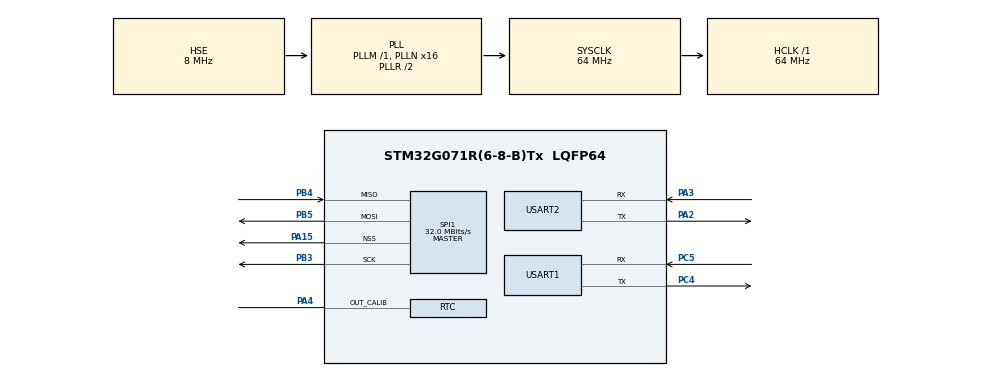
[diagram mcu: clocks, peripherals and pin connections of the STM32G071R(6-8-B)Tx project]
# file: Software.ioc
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CRC.DefaultInitValueUse=DEFAULT_INIT_VALUE_DISABLE
CRC.InitValue=0xf2faaa55
Dma.Request0=USART2_TX
Dma.USART2_TX.0.Direction=DMA_MEMORY_TO_PERIPH
Dma.USART2_TX.0.EventEnable=DISABLE
Dma.USART2_TX.0.Instance=DMA1_Channel1
Dma.USART2_TX.0.MemDataAlignment=DMA_MDATAALIGN_BYTE
Dma.USART2_TX.0.MemInc=DMA_MINC_ENABLE
Dma.USART2_TX.0.Mode=DMA_NORMAL
Dma.USART2_TX.0.PeriphDataAlignment=DMA_PDATAALIGN_BYTE
Dma.USART2_TX.0.PeriphInc=DMA_PINC_DISABLE
Dma.USART2_TX.0.Polarity=HAL_DMAMUX_REQ_GEN_RISING
Dma.USART2_TX.0.Priority=DMA_PRIORITY_LOW
Dma.USART2_TX.0.RequestNumber=1
Dma.USART2_TX.0.SignalID=NONE
Dma.USART2_TX.0.SyncEnable=DISABLE
Dma.USART2_TX.0.SyncPolarity=HAL_DMAMUX_SYNC_NO_EVENT
Dma.USART2_TX.0.SyncRequestNumber=1
Dma.USART2_TX.0.SyncSignalID=NONE
FREERTOS.Tasks01=IdleTask,24,128,StartIdleTask,Default,NULL,Dynamic,NULL,NULL;DisplayTask,24,128,StartDisplayTask,Default,NULL,Dynamic,NULL,NULL
FREERTOS.configENABLE_FPU=1
FREERTOS.configUSE_NEWLIB_REENTRANT=1
Mcu.Family=STM32G0
Mcu.Name=STM32G071R(6-8-B)Tx
Mcu.Package=LQFP64
NVIC.DMA1_Channel1_IRQn=true\:3\:0\:false\:false\:true\:true\:false\:true\:true
NVIC.TIM1_BRK_UP_TRG_COM_IRQn=true\:3\:0\:false\:false\:true\:false\:false\:true\:true
NVIC.TimeBase=TIM1_BRK_UP_TRG_COM_IRQn
NVIC.TimeBaseIP=TIM1
NVIC.USART1_IRQn=true\:3\:0\:false\:false\:true\:true\:true\:true\:true
NVIC.USART2_IRQn=true\:3\:0\:false\:false\:true\:true\:true\:true\:true
PA13.Mode=Serial_Wire
PA13.Signal=SYS_SWDIO
PA14-BOOT0.Mode=Serial_Wire
PA14-BOOT0.Signal=SYS_SWCLK
PA15.GPIO_PuPd=GPIO_PULLUP
PA15.GPIO_Speed=GPIO_SPEED_FREQ_HIGH
PA15.Mode=NSS_Signal_Hard_Output
PA15.PinState=GPIO_PIN_SET
PA15.Signal=SPI1_NSS
PA2.GPIO_PuPd=GPIO_PULLUP
PA2.GPIO_Speed=GPIO_SPEED_FREQ_HIGH
PA2.Mode=Asynchronous
PA2.PinState=GPIO_PIN_SET
PA2.Signal=USART2_TX
PA3.GPIO_ModeDefaultPP=GPIO_MODE_AF_PP
PA3.GPIO_PuPd=GPIO_PULLUP
PA3.GPIO_Speed=GPIO_SPEED_FREQ_HIGH
PA3.Mode=Asynchronous
PA3.PinState=GPIO_PIN_SET
PA3.Signal=USART2_RX
PA4.Mode=Calibration_1Hz
PA4.Signal=RTC_OUT_CALIB
PB3.GPIO_Mode=GPIO_MODE_AF_PP
PB3.GPIO_PuPd=GPIO_PULLUP
PB3.GPIO_Speed=GPIO_SPEED_FREQ_HIGH
PB3.Mode=Full_Duplex_Master
PB3.PinState=GPIO_PIN_SET
PB3.Signal=SPI1_SCK
PB4.GPIO_PuPd=GPIO_PULLUP
PB4.GPIO_Speed=GPIO_SPEED_FREQ_HIGH
PB4.Mode=Full_Duplex_Master
PB4.PinState=GPIO_PIN_SET
PB4.Signal=SPI1_MISO
PB5.GPIO_Mode=GPIO_MODE_AF_PP
PB5.GPIO_PuPd=GPIO_PULLUP
PB5.GPIO_Speed=GPIO_SPEED_FREQ_HIGH
PB5.Mode=Full_Duplex_Master
PB5.PinState=GPIO_PIN_SET
PB5.Signal=SPI1_MOSI
PC14-OSC32_IN\ (PC14).Mode=LSE-External-Oscillator
PC14-OSC32_IN\ (PC14).Signal=RCC_OSC32_IN
PC15-OSC32_OUT\ (PC15).Mode=LSE-External-Oscillator
PC15-OSC32_OUT\ (PC15).Signal=RCC_OSC32_OUT
PC4.GPIO_ModeDefaultPP=GPIO_MODE_AF_OD
PC4.Mode=IrDA
PC4.Signal=USART1_TX
PC5.GPIO_ModeDefaultPP=GPIO_MODE_AF_OD
PC5.Mode=IrDA
PC5.Signal=USART1_RX
PF0-OSC_IN\ (PF0).Mode=HSE-External-Oscillator
PF0-OSC_IN\ (PF0).Signal=RCC_OSC_IN
PF1-OSC_OUT\ (PF1).Mode=HSE-External-Oscillator
PF1-OSC_OUT\ (PF1).Signal=RCC_OSC_OUT
ProjectManager.HeapSize=0x200
ProjectManager.StackSize=0x400
ProjectManager.TargetToolchain=STM32CubeIDE
RCC.ADCFreq_Value=64000000
RCC.AHBFreq_Value=64000000
RCC.CortexFreq_Value=64000000
RCC.EXTERNAL_CLOCK_VALUE=48000
RCC.HCLKFreq_Value=64000000
RCC.HSE_VALUE=8000000
RCC.HSI_VALUE=16000000
RCC.PLLN=16
RCC.PLLSourceVirtual=RCC_PLLSOURCE_HSE
RCC.RTCClockSelection=RCC_RTCCLKSOURCE_LSE
RCC.SYSCLKFreq_VALUE=64000000
RCC.SYSCLKSource=RCC_SYSCLKSOURCE_PLLCLK
RCC.VCOOutputFreq_Value=128000000
SPI1.CalculateBaudRate=32.0 MBits/s
SPI1.Direction=SPI_DIRECTION_2LINES
SPI1.Mode=SPI_MODE_MASTER
SPI1.VirtualNSS=VM_NSSHARD
SPI1.VirtualType=VM_MASTER
USART1.VirtualMode-IrDA=VM_IRDA
USART2.VirtualMode-Asynchronous=VM_ASYNC
VP_CRC_VS_CRC.Mode=CRC_Activate
VP_FREERTOS_VS_CMSIS_V2.Mode=CMSIS_V2
VP_RTC_VS_RTC_Activate.Mode=RTC_Enabled
VP_RTC_VS_RTC_Calendar.Mode=RTC_Calendar
VP_SYS_VS_DBSignals.Mode=DisableDeadBatterySignals
VP_SYS_VS_tim1.Mode=TIM1
board=custom

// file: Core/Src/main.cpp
/* USER CODE BEGIN Header */
/**
 ******************************************************************************
 * @file           : main.c
 * @brief          : Main program body
 ******************************************************************************
 * @attention
 *
 * Copyright (c) 2023 STMicroelectronics.
 * All rights reserved.
 *
 * This software is licensed under terms that can be found in the LICENSE file
 * in the root directory of this software component.
 * If no LICENSE file comes with this software, it is provided AS-IS.
 *
 ******************************************************************************
 */
/* USER CODE END Header */
#include "main.h"
#include "cmsis_os.h"

/* USER CODE BEGIN Includes */
#include "bcd.h"
#include "calendar_stm32.h"
#include "config_manager.h"
#include "display.h"
#include "elog.h"
#include "safe_days.h"
#include "elog_port.h"
/* USER CODE END Includes */

/* USER CODE BEGIN PTD */
typedef StaticTask_t osStaticThreadDef_t;
/* USER CODE END PTD */

RTC_HandleTypeDef hrtc;

SPI_HandleTypeDef hspi1;

IRDA_HandleTypeDef hirda1;
UART_HandleTypeDef huart2;
DMA_HandleTypeDef  hdma_usart2_tx;
CRC_HandleTypeDef  hcrc;

/* Definitions for IdleTask */
osThreadId_t         IdleTaskHandle;
const osThreadAttr_t IdleTask_attributes = {
  .name       = "IdleTask",
  .stack_size = 128 * 8,
  .priority   = (osPriority_t) osPriorityNormal,
};
/* Definitions for DisplayTask */
osThreadId_t         DisplayTaskHandle;
const osThreadAttr_t DisplayTask_attributes = {
  .name       = "DisplayTask",
  .stack_size = 128 * 8,
  .priority   = (osPriority_t) osPriorityNormal,
};
/* USER CODE BEGIN PV */
/* Definitions for elog */
osThreadId_t         elogHandle;
uint32_t             elogBuffer[512];
osStaticThreadDef_t  elogControlBlock;
const osThreadAttr_t elog_attributes = {
  .name       = "elog",
  .cb_mem     = &elogControlBlock,
  .cb_size    = sizeof(elogControlBlock),
  .stack_mem  = &elogBuffer[0],
  .stack_size = sizeof(elogBuffer),
  .priority   = (osPriority_t) osPriorityLow,
};
/* Definitions for elog_lock */
osSemaphoreId_t         elog_lockHandle;
const osSemaphoreAttr_t elog_lock_attributes = {.name = "elog_lock"};
/* Definitions for elog_async */
osSemaphoreId_t         elog_asyncHandle;
const osSemaphoreAttr_t elog_async_attributes = {.name = "elog_async"};
/* Definitions for elog_dma_lock */
osSemaphoreId_t         elog_dma_lockHandle;
const osSemaphoreAttr_t elog_dma_lock_attributes = {.name = "elog_dma_lock"};
uint8_t                 rx_buf[8]                = {0};
/* USER CODE END PV */

void        SystemClock_Config(void);
static void MX_GPIO_Init(void);
static void MX_SPI1_Init(void);
static void MX_USART1_IRDA_Init(void);
static void MX_USART2_UART_Init(void);
static void MX_DMA_Init(void);
static void MX_RTC_Init(void);
static void MX_CRC_Init(void);
void        StartIdleTask(void *argument);
void        StartDisplayTask(void *argument);

/* USER CODE BEGIN 0 */
void HAL_UART_TxCpltCallback(UART_HandleTypeDef *huart) {
    if (huart->Instance == huart2.Instance) {
        extern osSemaphoreId_t elog_dma_lockHandle;
        osSemaphoreRelease(elog_dma_lockHandle);
    }
}

void HAL_UART_RxCpltCallback(UART_HandleTypeDef *huart) {
    if (huart->Instance == huart2.Instance) {
        static ConfigManager *cm_instance = ConfigManager::getInstance();
        cm_instance->serialCallback(rx_buf[0]);
        HAL_UART_Receive_IT(&huart2, rx_buf, 1);
    }
}
/* USER CODE END 0 */

int main(void) {

    /* MCU
     * Configuration--------------------------------------------------------*/

    /* Reset of all peripherals, Initializes the Flash interface and the
     * Systick. */
    HAL_Init();

    /* Configure the system clock */
    SystemClock_Config();

    /* Initialize all configured peripherals */
    MX_GPIO_Init();
    MX_DMA_Init();
    MX_SPI1_Init();
    MX_USART1_IRDA_Init();
    MX_USART2_UART_Init();
    MX_RTC_Init();
    MX_CRC_Init();
    /* USER CODE BEGIN 2 */
    elog_init();

    elog_set_fmt(ELOG_LVL_ASSERT, ELOG_FMT_ALL & ~ELOG_FMT_P_INFO);
    elog_set_fmt(ELOG_LVL_ERROR, ELOG_FMT_LVL | ELOG_FMT_TAG | ELOG_FMT_TIME);
    elog_set_fmt(ELOG_LVL_WARN, ELOG_FMT_LVL | ELOG_FMT_TAG | ELOG_FMT_TIME);
    elog_set_fmt(ELOG_LVL_INFO, ELOG_FMT_LVL | ELOG_FMT_TAG | ELOG_FMT_TIME);
    elog_set_fmt(ELOG_LVL_DEBUG,
                 ELOG_FMT_ALL & ~(ELOG_FMT_FUNC | ELOG_FMT_P_INFO));
    elog_set_fmt(ELOG_LVL_VERBOSE,
                 ELOG_FMT_ALL & ~(ELOG_FMT_FUNC | ELOG_FMT_P_INFO));

    elog_start();
    /* USER CODE END 2 */

    /* Init scheduler */
    osKernelInitialize();

    /* USER CODE BEGIN RTOS_SEMAPHORES */
    /* add semaphores, ... */
    /* creation of elog_lock */
    elog_lockHandle = osSemaphoreNew(1, 1, &elog_lock_attributes);

    /* creation of elog_async */
    elog_asyncHandle = osSemaphoreNew(1, 1, &elog_async_attributes);

    /* creation of elog_dma_lock */
    elog_dma_lockHandle = osSemaphoreNew(1, 1, &elog_dma_lock_attributes);
    /* USER CODE END RTOS_SEMAPHORES */

    /* Create the thread(s) */
    /* creation of IdleTask */
    IdleTaskHandle = osThreadNew(StartIdleTask, NULL, &IdleTask_attributes);

    /* creation of DisplayTask */
    DisplayTaskHandle =
        osThreadNew(StartDisplayTask, NULL, &DisplayTask_attributes);

    /* USER CODE BEGIN RTOS_THREADS */
    elogHandle = osThreadNew(elog_entry, NULL, &elog_attributes);
    /* USER CODE END RTOS_THREADS */

    /* Start scheduler */
    osKernelStart();

    /* We should never get here as control is now taken by the scheduler */
    /* Infinite loop */
    while (1) {

    }
}

void SystemClock_Config(void) {
    RCC_OscInitTypeDef RCC_OscInitStruct = {0};
    RCC_ClkInitTypeDef RCC_ClkInitStruct = {0};

    /** Configure the main internal regulator output voltage
     */
    HAL_PWREx_ControlVoltageScaling(PWR_REGULATOR_VOLTAGE_SCALE1);

    /** Configure LSE Drive Capability
     */
    HAL_PWR_EnableBkUpAccess();
    __HAL_RCC_LSEDRIVE_CONFIG(RCC_LSEDRIVE_LOW);

    /** Initializes the RCC Oscillators according to the specified parameters
     * in the RCC_OscInitTypeDef structure.
     */
    RCC_OscInitStruct.OscillatorType =
        RCC_OSCILLATORTYPE_HSE | RCC_OSCILLATORTYPE_LSE;
    RCC_OscInitStruct.HSEState      = RCC_HSE_ON;
    RCC_OscInitStruct.LSEState      = RCC_LSE_ON;
    RCC_OscInitStruct.PLL.PLLState  = RCC_PLL_ON;
    RCC_OscInitStruct.PLL.PLLSource = RCC_PLLSOURCE_HSE;
    RCC_OscInitStruct.PLL.PLLM      = RCC_PLLM_DIV1;
    RCC_OscInitStruct.PLL.PLLN      = 16;
    RCC_OscInitStruct.PLL.PLLP      = RCC_PLLP_DIV2;
    RCC_OscInitStruct.PLL.PLLQ      = RCC_PLLQ_DIV2;
    RCC_OscInitStruct.PLL.PLLR      = RCC_PLLR_DIV2;
    if (HAL_RCC_OscConfig(&RCC_OscInitStruct) != HAL_OK) {
        Error_Handler();
    }

    /** Initializes the CPU, AHB and APB buses clocks
     */
    RCC_ClkInitStruct.ClockType =
        RCC_CLOCKTYPE_HCLK | RCC_CLOCKTYPE_SYSCLK | RCC_CLOCKTYPE_PCLK1;
    RCC_ClkInitStruct.SYSCLKSource   = RCC_SYSCLKSOURCE_PLLCLK;
    RCC_ClkInitStruct.AHBCLKDivider  = RCC_SYSCLK_DIV1;
    RCC_ClkInitStruct.APB1CLKDivider = RCC_HCLK_DIV1;

    if (HAL_RCC_ClockConfig(&RCC_ClkInitStruct, FLASH_LATENCY_2) != HAL_OK) {
        Error_Handler();
    }
}

static void MX_CRC_Init(void) {

    hcrc.Instance                     = CRC;
    hcrc.Init.DefaultPolynomialUse    = DEFAULT_POLYNOMIAL_ENABLE;
    hcrc.Init.DefaultInitValueUse     = DEFAULT_INIT_VALUE_DISABLE;
    hcrc.Init.InitValue               = 0xf2faaa55;
    hcrc.Init.InputDataInversionMode  = CRC_INPUTDATA_INVERSION_NONE;
    hcrc.Init.OutputDataInversionMode = CRC_OUTPUTDATA_INVERSION_DISABLE;
    hcrc.InputDataFormat              = CRC_INPUTDATA_FORMAT_BYTES;
    if (HAL_CRC_Init(&hcrc) != HAL_OK) {
        Error_Handler();
    }
}

static void MX_RTC_Init(void) {

    /* USER CODE BEGIN RTC_Init 0 */
    const uint32_t rtc_signature_0   = 0x005555FE;
    const uint32_t rtc_signature_1   = 0x00FFAA54;
    bool           is_rtc_data_valid = false;
    /* USER CODE END RTC_Init 0 */

    RTC_TimeTypeDef sTime = {0};
    RTC_DateTypeDef sDate = {0};

    /** Initialize RTC Only
     */
    hrtc.Instance            = RTC;
    hrtc.Init.HourFormat     = RTC_HOURFORMAT_24;
    hrtc.Init.AsynchPrediv   = 127;
    hrtc.Init.SynchPrediv    = 255;
    hrtc.Init.OutPut         = RTC_OUTPUT_DISABLE;
    hrtc.Init.OutPutRemap    = RTC_OUTPUT_REMAP_NONE;
    hrtc.Init.OutPutPolarity = RTC_OUTPUT_POLARITY_HIGH;
    hrtc.Init.OutPutType     = RTC_OUTPUT_TYPE_OPENDRAIN;
    hrtc.Init.OutPutPullUp   = RTC_OUTPUT_PULLUP_NONE;
    if (HAL_RTC_Init(&hrtc) != HAL_OK) {
        Error_Handler();
    }

    /* USER CODE BEGIN Check_RTC_BKUP */
    if ((rtc_signature_0 == HAL_RTCEx_BKUPRead(&hrtc, RTC_BKP_DR0))
        && (rtc_signature_1 == HAL_RTCEx_BKUPRead(&hrtc, RTC_BKP_DR1))) {
        is_rtc_data_valid = true;
    }

    if (!is_rtc_data_valid) {
        /* USER CODE END Check_RTC_BKUP */

        /** Initialize RTC and set the Time and Date
         */
        sTime.Hours          = 23;
        sTime.Minutes        = 58;
        sTime.Seconds        = 0x0;
        sTime.SubSeconds     = 0x0;
        sTime.DayLightSaving = RTC_DAYLIGHTSAVING_NONE;
        sTime.StoreOperation = RTC_STOREOPERATION_RESET;
        if (HAL_RTC_SetTime(&hrtc, &sTime, RTC_FORMAT_BIN) != HAL_OK) {
            Error_Handler();
        }
        sDate.WeekDay = RTC_WEEKDAY_SATURDAY;
        sDate.Month   = RTC_MONTH_FEBRUARY;
        sDate.Date    = 29;
        sDate.Year    = 24;

        if (HAL_RTC_SetDate(&hrtc, &sDate, RTC_FORMAT_BIN) != HAL_OK) {
            Error_Handler();
        }

        /** Enable Calibration
         */
        if (HAL_RTCEx_SetCalibrationOutPut(&hrtc, RTC_CALIBOUTPUT_1HZ)
            != HAL_OK) {
            Error_Handler();
        }
        /* USER CODE BEGIN RTC_Init 2 */
        // set rtc_signatures
        HAL_RTCEx_BKUPWrite(&hrtc, RTC_BKP_DR0, rtc_signature_0);
        HAL_RTCEx_BKUPWrite(&hrtc, RTC_BKP_DR1, rtc_signature_1);
    }
    /* USER CODE END RTC_Init 2 */
}

static void MX_SPI1_Init(void) {

    /* SPI1 parameter configuration*/
    hspi1.Instance               = SPI1;
    hspi1.Init.Mode              = SPI_MODE_MASTER;
    hspi1.Init.Direction         = SPI_DIRECTION_2LINES;
    hspi1.Init.DataSize          = SPI_DATASIZE_8BIT;
    hspi1.Init.CLKPolarity       = SPI_POLARITY_LOW;
    hspi1.Init.CLKPhase          = SPI_PHASE_1EDGE;
    hspi1.Init.NSS               = SPI_NSS_SOFT;
    hspi1.Init.BaudRatePrescaler = SPI_BAUDRATEPRESCALER_32;
    hspi1.Init.FirstBit          = SPI_FIRSTBIT_MSB;
    hspi1.Init.TIMode            = SPI_TIMODE_DISABLE;
    hspi1.Init.CRCCalculation    = SPI_CRCCALCULATION_DISABLE;
    hspi1.Init.CRCPolynomial     = 7;
    hspi1.Init.CRCLength         = SPI_CRC_LENGTH_DATASIZE;
    hspi1.Init.NSSPMode          = SPI_NSS_PULSE_DISABLE;
    if (HAL_SPI_Init(&hspi1) != HAL_OK) {
        Error_Handler();
    }
}

static void MX_USART1_IRDA_Init(void) {

    hirda1.Instance            = USART1;
    hirda1.Init.BaudRate       = 9600;
    hirda1.Init.WordLength     = IRDA_WORDLENGTH_8B;
    hirda1.Init.Parity         = IRDA_PARITY_NONE;
    hirda1.Init.Mode           = IRDA_MODE_TX_RX;
    hirda1.Init.Prescaler      = 10;
    hirda1.Init.PowerMode      = IRDA_POWERMODE_NORMAL;
    hirda1.Init.ClockPrescaler = IRDA_PRESCALER_DIV1;
    if (HAL_IRDA_Init(&hirda1) != HAL_OK) {
        Error_Handler();
    }
}

static void MX_USART2_UART_Init(void) {

    huart2.Instance                    = USART2;
    huart2.Init.BaudRate               = 115200;
    huart2.Init.WordLength             = UART_WORDLENGTH_8B;
    huart2.Init.StopBits               = UART_STOPBITS_1;
    huart2.Init.Parity                 = UART_PARITY_NONE;
    huart2.Init.Mode                   = UART_MODE_TX_RX;
    huart2.Init.HwFlowCtl              = UART_HWCONTROL_NONE;
    huart2.Init.OverSampling           = UART_OVERSAMPLING_16;
    huart2.Init.OneBitSampling         = UART_ONE_BIT_SAMPLE_DISABLE;
    huart2.Init.ClockPrescaler         = UART_PRESCALER_DIV1;
    huart2.AdvancedInit.AdvFeatureInit = UART_ADVFEATURE_NO_INIT;
    if (HAL_UART_Init(&huart2) != HAL_OK) {
        Error_Handler();
    }
    if (HAL_UARTEx_SetTxFifoThreshold(&huart2, UART_TXFIFO_THRESHOLD_1_8)
        != HAL_OK) {
        Error_Handler();
    }
    if (HAL_UARTEx_SetRxFifoThreshold(&huart2, UART_RXFIFO_THRESHOLD_1_8)
        != HAL_OK) {
        Error_Handler();
    }
    if (HAL_UARTEx_EnableFifoMode(&huart2) != HAL_OK) {
        Error_Handler();
    }
    /* USER CODE BEGIN USART2_Init 2 */
    huart2.pRxBuffPtr = rx_buf;
    HAL_UART_Receive_IT(&huart2, rx_buf, 1);
    /* USER CODE END USART2_Init 2 */
}

static void MX_DMA_Init(void) {

    /* DMA controller clock enable */
    __HAL_RCC_DMA1_CLK_ENABLE();

    /* DMA interrupt init */
    /* DMA1_Channel1_IRQn interrupt configuration */
    HAL_NVIC_SetPriority(DMA1_Channel1_IRQn, 3, 0);
    HAL_NVIC_EnableIRQ(DMA1_Channel1_IRQn);
}

static void MX_GPIO_Init(void) {
    GPIO_InitTypeDef GPIO_InitStruct = {0};

    /* GPIO Ports Clock Enable */
    __HAL_RCC_GPIOC_CLK_ENABLE();
    __HAL_RCC_GPIOF_CLK_ENABLE();
    __HAL_RCC_GPIOA_CLK_ENABLE();
    __HAL_RCC_GPIOB_CLK_ENABLE();
    __HAL_RCC_GPIOD_CLK_ENABLE();

    /*Configure GPIO pins : PC11 PC12 PC13 PC0
                             PC1 PC2 PC3 PC6
                             PC7 PC8 PC9 PC10 */
    GPIO_InitStruct.Pin = GPIO_PIN_11 | GPIO_PIN_12 | GPIO_PIN_13 | GPIO_PIN_0
                          | GPIO_PIN_1 | GPIO_PIN_2 | GPIO_PIN_3 | GPIO_PIN_6
                          | GPIO_PIN_7 | GPIO_PIN_8 | GPIO_PIN_9 | GPIO_PIN_10;
    GPIO_InitStruct.Mode = GPIO_MODE_ANALOG;
    GPIO_InitStruct.Pull = GPIO_NOPULL;
    HAL_GPIO_Init(GPIOC, &GPIO_InitStruct);

    /*Configure GPIO pin : PF2 */
    GPIO_InitStruct.Pin  = GPIO_PIN_2;
    GPIO_InitStruct.Mode = GPIO_MODE_ANALOG;
    GPIO_InitStruct.Pull = GPIO_NOPULL;
    HAL_GPIO_Init(GPIOF, &GPIO_InitStruct);

    /*Configure GPIO pins : PA0 PA1 PA5 PA6
                             PA7 PA8 PA9 PA10
                             PA11 PA12 */
    GPIO_InitStruct.Pin = GPIO_PIN_0 | GPIO_PIN_1 | GPIO_PIN_5 | GPIO_PIN_6
                          | GPIO_PIN_7 | GPIO_PIN_8 | GPIO_PIN_9 | GPIO_PIN_10
                          | GPIO_PIN_11 | GPIO_PIN_12;
    GPIO_InitStruct.Mode = GPIO_MODE_ANALOG;
    GPIO_InitStruct.Pull = GPIO_NOPULL;
    HAL_GPIO_Init(GPIOA, &GPIO_InitStruct);

    /*Configure GPIO pins : PB0 PB1 PB2 PB10
                             PB11 PB12 PB13 PB14
                             PB15 PB6 PB7 PB8
                             PB9 */
    GPIO_InitStruct.Pin = GPIO_PIN_0 | GPIO_PIN_1 | GPIO_PIN_2 | GPIO_PIN_10
                          | GPIO_PIN_11 | GPIO_PIN_12 | GPIO_PIN_14
                          | GPIO_PIN_15 | GPIO_PIN_6 | GPIO_PIN_7 | GPIO_PIN_8
                          | GPIO_PIN_9;
    GPIO_InitStruct.Mode = GPIO_MODE_ANALOG;
    GPIO_InitStruct.Pull = GPIO_NOPULL;
    HAL_GPIO_Init(GPIOB, &GPIO_InitStruct);

    /*Configure GPIO pins : PD8 PD9 PD0 PD1
                             PD2 PD3 PD4 PD5
                             PD6 */
    GPIO_InitStruct.Pin = GPIO_PIN_8 | GPIO_PIN_9 | GPIO_PIN_0 | GPIO_PIN_1
                          | GPIO_PIN_2 | GPIO_PIN_3 | GPIO_PIN_4 | GPIO_PIN_5
                          | GPIO_PIN_6;
    GPIO_InitStruct.Mode = GPIO_MODE_ANALOG;
    GPIO_InitStruct.Pull = GPIO_NOPULL;
    HAL_GPIO_Init(GPIOD, &GPIO_InitStruct);

}

void StartIdleTask(void *argument) {
    /* USER CODE BEGIN 5 */
    elog_info("Task", "IDLE started");
    ConfigManager *config = ConfigManager::getInstance();
    /* Infinite loop */
    for (;;) {
        // TODO: Schedule frequency
        osDelay(pdMS_TO_TICKS(500));
        config->run();
    }
    /* USER CODE END 5 */
}

void StartDisplayTask(void *argument) {
    /* USER CODE BEGIN StartDisplayTask */
    elog_i("Task", "Display started");
    SafeDays *safe_days_instance = SafeDays::getInstance();
    Display  *display_instance   = Display::getInstance();
    Calendar *calendar_instance  = CalendarSTM32::getInstance();

    /* Infinite loop */
    for (;;) {
        // HAL_GPIO_TogglePin(GPIOC, GPIO_PIN_0);
        // TODO: Update ticks count to represent 50 ms
        osDelay(pdMS_TO_TICKS(100));
        safe_days_instance->update();
        switch (display_instance->getDisplayState()) {
        case Display::DISPLAY_SM_STATES::SELF_TEST:
            display_instance->selfTest();
            display_instance->setDisplayState(
                Display::DISPLAY_SM_STATES::APP_MODE);
            break;

        case Display::DISPLAY_SM_STATES::APP_MODE:
            // Update the display buffers
            display_instance->setSafeDayCount(
                safe_days_instance->getSafeDaysCount());
            display_instance->setSafeYearCount(
                safe_days_instance->getSafeYearsCount());
            display_instance->setTime(calendar_instance->getTime());
            break;

        case Display::DISPLAY_SM_STATES::CONFIG_MODE:
            // Sit idle, data loaded from config manager to display buffer
            // Loop is needed just to call the update() periodically!
            break;

        default:
            break;
        }

        // Refresh display
        display_instance->update();
    }
    /* USER CODE END StartDisplayTask */
}

void HAL_TIM_PeriodElapsedCallback(TIM_HandleTypeDef *htim) {
    if (htim->Instance == TIM1) {
        HAL_IncTick();
    }
}

void Error_Handler(void) {
    /* USER CODE BEGIN Error_Handler_Debug */
    /* User can add his own implementation to report the HAL error return state
     */
    __disable_irq();
    while (1) {
    }
    /* USER CODE END Error_Handler_Debug */
}

#ifdef USE_FULL_ASSERT
/**
 * @brief  Reports the name of the source file and the source line number
 *         where the assert_param error has occurred.
 * @param  file: pointer to the source file name
 * @param  line: assert_param error line source number
 * @retval None
 */
void assert_failed(uint8_t *file, uint32_t line) {
    /* USER CODE BEGIN 6 */
    /* User can add his own implementation to report the file name and line
       number, ex: printf("Wrong parameters value: file %s on line %d\r\n",
       file, line) */
    /* USER CODE END 6 */
}
#endif /* USE_FULL_ASSERT */
